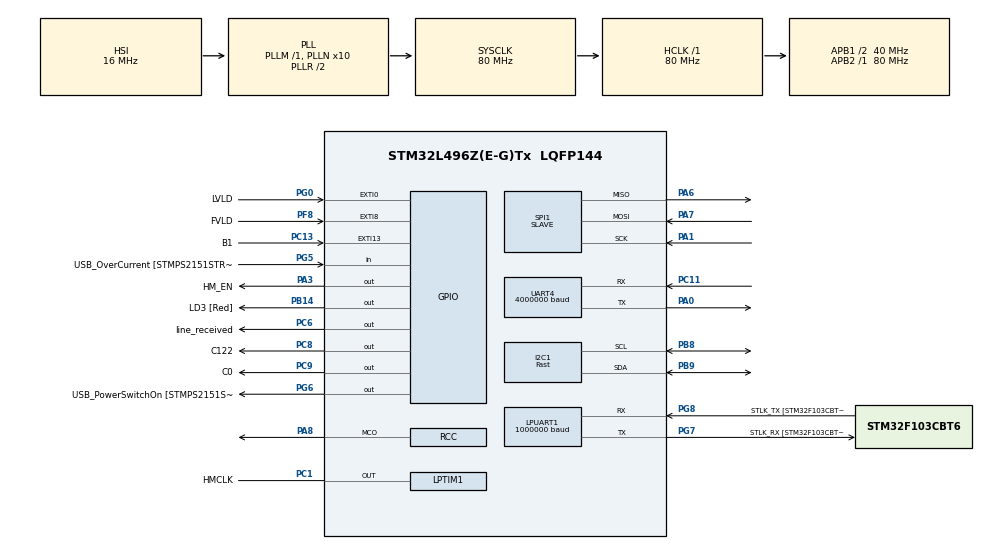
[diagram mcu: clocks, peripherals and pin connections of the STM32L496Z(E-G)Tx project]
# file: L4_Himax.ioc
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Dma.LPUART_TX.2.Direction=DMA_MEMORY_TO_PERIPH
Dma.LPUART_TX.2.Instance=DMA2_Channel6
Dma.LPUART_TX.2.MemDataAlignment=DMA_MDATAALIGN_BYTE
Dma.LPUART_TX.2.MemInc=DMA_MINC_ENABLE
Dma.LPUART_TX.2.Mode=DMA_NORMAL
Dma.LPUART_TX.2.PeriphDataAlignment=DMA_PDATAALIGN_BYTE
Dma.LPUART_TX.2.PeriphInc=DMA_PINC_DISABLE
Dma.LPUART_TX.2.Priority=DMA_PRIORITY_LOW
Dma.Request0=UART4_TX
Dma.Request1=SPI1_RX
Dma.Request2=LPUART_TX
Dma.SPI1_RX.1.Direction=DMA_PERIPH_TO_MEMORY
Dma.SPI1_RX.1.Instance=DMA1_Channel2
Dma.SPI1_RX.1.MemDataAlignment=DMA_MDATAALIGN_BYTE
Dma.SPI1_RX.1.MemInc=DMA_MINC_ENABLE
Dma.SPI1_RX.1.Mode=DMA_NORMAL
Dma.SPI1_RX.1.PeriphDataAlignment=DMA_PDATAALIGN_BYTE
Dma.SPI1_RX.1.PeriphInc=DMA_PINC_DISABLE
Dma.SPI1_RX.1.Priority=DMA_PRIORITY_LOW
Dma.UART4_TX.0.Direction=DMA_MEMORY_TO_PERIPH
Dma.UART4_TX.0.Instance=DMA2_Channel3
Dma.UART4_TX.0.MemDataAlignment=DMA_MDATAALIGN_BYTE
Dma.UART4_TX.0.MemInc=DMA_MINC_ENABLE
Dma.UART4_TX.0.Mode=DMA_NORMAL
Dma.UART4_TX.0.PeriphDataAlignment=DMA_PDATAALIGN_BYTE
Dma.UART4_TX.0.PeriphInc=DMA_PINC_DISABLE
Dma.UART4_TX.0.Priority=DMA_PRIORITY_LOW
I2C1.CustomTiming=Disabled
I2C1.I2C_Speed_Mode=I2C_Fast
I2C1.Timing=0x00301347
LPUART1.BaudRate=1000000
LPUART1.WordLength=UART_WORDLENGTH_8B
Mcu.Family=STM32L4
Mcu.Name=STM32L496Z(E-G)Tx
Mcu.Package=LQFP144
NVIC.DMA1_Channel2_IRQn=true\:0\:0\:false\:false\:true\:false\:true
NVIC.DMA2_Channel3_IRQn=true\:0\:0\:false\:false\:true\:false\:true
NVIC.DMA2_Channel6_IRQn=true\:0\:0\:false\:false\:true\:false\:true
NVIC.EXTI0_IRQn=true\:0\:0\:false\:false\:true\:true\:true
NVIC.EXTI9_5_IRQn=true\:0\:0\:false\:false\:true\:true\:true
NVIC.PriorityGroup=NVIC_PRIORITYGROUP_4
NVIC.SPI1_IRQn=true\:0\:0\:false\:false\:true\:true\:true
NVIC.UART4_IRQn=true\:0\:0\:false\:false\:true\:true\:true
PA0.Mode=Asynchronous
PA0.Signal=UART4_TX
PA1.Mode=Full_Duplex_Slave
PA1.Signal=SPI1_SCK
PA13\ (JTMS/SWDIO).GPIO_Label=TMS
PA13\ (JTMS/SWDIO).Mode=Trace_Asynchronous_SW
PA13\ (JTMS/SWDIO).Signal=SYS_JTMS-SWDIO
PA14\ (JTCK/SWCLK).GPIO_Label=TCK
PA14\ (JTCK/SWCLK).Mode=Trace_Asynchronous_SW
PA14\ (JTCK/SWCLK).Signal=SYS_JTCK-SWCLK
PA3.GPIO_Label=HM_EN
PA3.Signal=GPIO_Output
PA6.Mode=Full_Duplex_Slave
PA6.Signal=SPI1_MISO
PA7.Mode=Full_Duplex_Slave
PA7.Signal=SPI1_MOSI
PA8.Mode=Clock-out
PA8.Signal=RCC_MCO
PB14.GPIO_Label=LD3 [Red]
PB14.Signal=GPIO_Output
PB3\ (JTDO/TRACESWO).GPIO_Label=SWO
PB3\ (JTDO/TRACESWO).Mode=Trace_Asynchronous_SW
PB3\ (JTDO/TRACESWO).Signal=SYS_JTDO-SWO
PB8.GPIO_Pu=GPIO_PULLUP
PB8.Mode=I2C
PB8.Signal=I2C1_SCL
PB9.GPIO_Pu=GPIO_PULLUP
PB9.Mode=I2C
PB9.Signal=I2C1_SDA
PC1.GPIO_Label=HMCLK
PC1.GPIO_Speed=GPIO_SPEED_FREQ_VERY_HIGH
PC1.Mode=WaveformGeneration
PC1.Signal=LPTIM1_OUT
PC11.Mode=Asynchronous
PC11.Signal=UART4_RX
PC13.GPIO_Label=B1
PC13.Signal=GPXTI13
PC14-OSC32_IN\ (PC14).Mode=LSE-External-Oscillator
PC14-OSC32_IN\ (PC14).Signal=RCC_OSC32_IN
PC15-OSC32_OUT\ (PC15).Mode=LSE-External-Oscillator
PC15-OSC32_OUT\ (PC15).Signal=RCC_OSC32_OUT
PC6.GPIO_Label=line_received
PC6.GPIO_Speed=GPIO_SPEED_FREQ_HIGH
PC6.Signal=GPIO_Output
PC8.GPIO_Label=C122
PC8.GPIO_Speed=GPIO_SPEED_FREQ_HIGH
PC8.Signal=GPIO_Output
PC9.GPIO_Label=C0
PC9.GPIO_Speed=GPIO_SPEED_FREQ_HIGH
PC9.Signal=GPIO_Output
PF8.GPIO_Label=FVLD
PF8.Signal=GPXTI8
PG0.GPIO_Label=LVLD
PG0.Signal=GPXTI0
PG5.GPIO_Label=USB_OverCurrent [STMPS2151STR_FAULT]
PG5.Signal=GPIO_Input
PG6.GPIO_Label=USB_PowerSwitchOn [STMPS2151STR_EN]
PG6.Signal=GPIO_Output
PG7.GPIO_Label=STLK_RX [STM32F103CBT6_PA3]
PG7.Mode=Asynchronous
PG7.Signal=LPUART1_TX
PG8.GPIO_Label=STLK_TX [STM32F103CBT6_PA2]
PG8.Mode=Asynchronous
PG8.Signal=LPUART1_RX
PH1-OSC_OUT\ (PH1).Signal=RCC_OSC_OUT
ProjectManager.HeapSize=0x200
ProjectManager.StackSize=0x400
ProjectManager.TargetToolchain=STM32CubeIDE
RCC.48MHZClocksFreq_Value=24000000
RCC.ADCFreq_Value=64000000
RCC.AHBFreq_Value=80000000
RCC.APB1CLKDivider=RCC_HCLK_DIV2
RCC.APB1Freq_Value=40000000
RCC.APB1TimFreq_Value=80000000
RCC.APB2Freq_Value=80000000
RCC.APB2TimFreq_Value=80000000
RCC.CortexFreq_Value=80000000
RCC.HCLKFreq_Value=80000000
RCC.HSE_VALUE=8000000
RCC.HSI48_VALUE=48000000
RCC.HSI_VALUE=16000000
RCC.MSI_VALUE=4000000
RCC.PLLMUL=RCC_PLL_MUL9
RCC.PLLN=10
RCC.PLLSourceVirtual=RCC_PLLSOURCE_HSI
RCC.PRESCALERUSB=RCC_USBCLKSOURCE_PLL_DIV1_5
RCC.RCC_MCODiv=RCC_MCODIV_8
RCC.SYSCLKFreq_VALUE=80000000
RCC.SYSCLKSource=RCC_SYSCLKSOURCE_PLLCLK
RCC.SYSCLKSourceVirtual=RCC_SYSCLKSOURCE_PLLCLK
RCC.USBFreq_Value=64000000
RCC.VCOOutputFreq_Value=160000000
SPI1.DataSize=SPI_DATASIZE_8BIT
SPI1.Direction=SPI_DIRECTION_2LINES
SPI1.Mode=SPI_MODE_SLAVE
SPI1.VirtualType=VM_SLAVE
UART4.BaudRate=4000000
UART4.OverSampling=UART_OVERSAMPLING_8
VP_LPTIM1_VS_LPTIM_counterModeInternalClock.Mode=Counts__internal_clock_event_00
board=NUCLEO-L496ZG

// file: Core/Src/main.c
/* USER CODE BEGIN Header */
/**
  ******************************************************************************
  * @file           : main.c
  * @brief          : Main program body
  ******************************************************************************
  * @attention
  *
  * <h2><center>&copy; Copyright (c) 2021 STMicroelectronics.
  * All rights reserved.</center></h2>
  *
  * This software component is licensed by ST under BSD 3-Clause license,
  * the "License"; You may not use this file except in compliance with the
  * License. You may obtain a copy of the License at:
  *                        opensource.org/licenses/BSD-3-Clause
  *
  ******************************************************************************
  */
/* USER CODE END Header */
#include "main.h"
#include "HM.h"
/* USER CODE BEGIN Includes */
//#include "HM.h"
/* USER CODE END Includes */

/* USER CODE BEGIN PD */

#define HMCLK_PER 6
#define HMCLK_PUL 3
#define LINE_LENGTH 324
#define LINE_HEIGHT 324
#define FIFO_SZ 10
/* USER CODE END PD */

I2C_HandleTypeDef hi2c1;

LPTIM_HandleTypeDef hlptim1;

UART_HandleTypeDef hlpuart1;
UART_HandleTypeDef huart4;
DMA_HandleTypeDef hdma_lpuart_tx;
DMA_HandleTypeDef hdma_uart4_tx;

SPI_HandleTypeDef hspi1;
DMA_HandleTypeDef hdma_spi1_rx;

/* USER CODE BEGIN PV */
uint8_t HM_Data[FIFO_SZ* (LINE_LENGTH+3)];
uint8_t dummy[LINE_LENGTH+3];
uint8_t line_received = 0;
uint8_t FIFO_Index = 0;
uint8_t uart_done = 1;
uint8_t spi_done = 0;
uint8_t startHM = 0;
uint8_t counter_line = 0;
uint8_t end_frame = 0;
uint32_t i = 0;
uint32_t x[1];
uint8_t UART_TxBuffer[3];
GPIO_InitTypeDef GPIO_InitStruct = {0};
/* USER CODE END PV */

void SystemClock_Config(void);
static void MX_GPIO_Init(void);
static void MX_DMA_Init(void);
static void MX_LPUART1_UART_Init(void);
static void MX_I2C1_Init(void);
static void MX_SPI1_Init(void);
static void MX_LPTIM1_Init(void);
static void MX_UART4_Init(void);

int main(void)
{

  /* MCU Configuration--------------------------------------------------------*/

  /* Reset of all peripherals, Initializes the Flash interface and the Systick. */
  HAL_Init();

  /* Configure the system clock */
  SystemClock_Config();

  /* Initialize all configured peripherals */
  MX_GPIO_Init();
  MX_DMA_Init();
  MX_LPUART1_UART_Init();
  MX_I2C1_Init();
  MX_SPI1_Init();
  MX_LPTIM1_Init();
  MX_UART4_Init();
  /* USER CODE BEGIN 2 */
  HAL_GPIO_WritePin(HM_EN_GPIO_Port, HM_EN_Pin, GPIO_PIN_SET);
    HAL_Delay(10);
    HAL_LPTIM_PWM_Start(&hlptim1, HMCLK_PER - 1, HMCLK_PUL - 1);

    hm01b0_init(&hi2c1);
    hm01b0_stream(&hi2c1, 0);

    for(i = 0; i++; i < LINE_LENGTH+3){
  	  dummy[i] = 0x00;
    }
  //  counter = 0;
  //  HAL_NVIC_SetPriority(EXTI0_IRQn, 0, 0);
  //  HAL_NVIC_EnableIRQ(EXTI0_IRQn);
  //
  //  HAL_NVIC_SetPriority(EXTI9_5_IRQn, 0, 0);
  //  HAL_NVIC_EnableIRQ(EXTI9_5_IRQn);

  //  HAL_SPI_Receive_DMA(&hspi1, HM_Data + FIFO_Index*LINE_LENGTH, LINE_LENGTH);
    //go to sleep

  /* USER CODE END 2 */

  /* Infinite loop */
  /* USER CODE BEGIN WHILE */

    HAL_SPI_Receive_DMA(&hspi1, HM_Data , LINE_LENGTH);
  //  HAL_SuspendTick();
  //  HAL_PWR_EnterSLEEPMode(PWR_MAINREGULATOR_ON, PWR_SLEEPENTRY_WFI);

    startHM = 0;
    while(!startHM){}
    while (1)
    {

  	  end_frame = 0;
  	  counter_line = 1;
  //	  spi_done = 0;
  //	  o = HAL_SPI_Receive_DMA(&hspi1, HM_Data   + FIFO_Index*(LINE_LENGTH + 3), LINE_LENGTH);  //+ FIFO_Index*(LINE_LENGTH + 3) + LINE_LENGTH , LINE_LENGTH);  //receive line, then enter sleep mode until the receive is over
  //	  HAL_SuspendTick();
  //	  HAL_PWR_EnterSLEEPMode(PWR_MAINREGULATOR_ON, PWR_SLEEPENTRY_WFI);

  	  while (end_frame == 0)
  	  {
  		  HM_Data[0]= counter_line;
  		  HM_Data[1]= 0;
  		  HM_Data[2]= 0;
  		  x[0] = counter_line;
  		  while(!spi_done){}
  		  spi_done = 0;
  		  HAL_SPI_Receive_DMA(&hspi1, HM_Data+ 3, LINE_LENGTH);  //receive line, then enter sleep mode until the receive is over
  		  if(counter_line == 1)	{
  			  HAL_SuspendTick();
  			  HAL_PWR_EnterSLEEPMode(PWR_MAINREGULATOR_ON, PWR_SLEEPENTRY_WFI);
  		  }
  		  if(counter_line > 82 && counter_line < 243)
  		  {
			  //while(!uart_done){}
			  //uart_done = 0;
			  //HAL_GPIO_WritePin(C0_GPIO_Port, C0_Pin, GPIO_PIN_SET); 				//UART PIN END
  			  HM_Data[4] = 2;
  			  HAL_UART_Transmit_DMA(&huart4,  dummy, LINE_LENGTH+3);
			  //HAL_GPIO_WritePin(C122_GPIO_Port, C122_Pin, GPIO_PIN_SET);			//SPI PIN END
  		  }

  		  if(FIFO_Index == FIFO_SZ)
    		  {
  			  FIFO_Index = 0;
  		  }
  	 	  counter_line ++;
  	  }

  	  while(!spi_done){}
  	  HM_Data[4] = 1;
  	  HAL_UART_Transmit_DMA(&huart4,  dummy, LINE_LENGTH+3);

  //	  }

    }

    /* USER CODE END WHILE */

    /* USER CODE BEGIN 3 */
  //}
  /* USER CODE END 3 */
}

void SystemClock_Config(void)
{
  RCC_OscInitTypeDef RCC_OscInitStruct = {0};
  RCC_ClkInitTypeDef RCC_ClkInitStruct = {0};

  /** Configure the main internal regulator output voltage
  */
  if (HAL_PWREx_ControlVoltageScaling(PWR_REGULATOR_VOLTAGE_SCALE1) != HAL_OK)
  {
    Error_Handler();
  }
  /** Initializes the RCC Oscillators according to the specified parameters
  * in the RCC_OscInitTypeDef structure.
  */
  RCC_OscInitStruct.OscillatorType = RCC_OSCILLATORTYPE_HSI;
  RCC_OscInitStruct.HSIState = RCC_HSI_ON;
  RCC_OscInitStruct.HSICalibrationValue = RCC_HSICALIBRATION_DEFAULT;
  RCC_OscInitStruct.PLL.PLLState = RCC_PLL_ON;
  RCC_OscInitStruct.PLL.PLLSource = RCC_PLLSOURCE_HSI;
  RCC_OscInitStruct.PLL.PLLM = 1;
  RCC_OscInitStruct.PLL.PLLN = 10;
  RCC_OscInitStruct.PLL.PLLP = RCC_PLLP_DIV2;
  RCC_OscInitStruct.PLL.PLLQ = RCC_PLLQ_DIV2;
  RCC_OscInitStruct.PLL.PLLR = RCC_PLLR_DIV2;
  if (HAL_RCC_OscConfig(&RCC_OscInitStruct) != HAL_OK)
  {
    Error_Handler();
  }
  /** Initializes the CPU, AHB and APB buses clocks
  */
  RCC_ClkInitStruct.ClockType = RCC_CLOCKTYPE_HCLK|RCC_CLOCKTYPE_SYSCLK
                              |RCC_CLOCKTYPE_PCLK1|RCC_CLOCKTYPE_PCLK2;
  RCC_ClkInitStruct.SYSCLKSource = RCC_SYSCLKSOURCE_PLLCLK;
  RCC_ClkInitStruct.AHBCLKDivider = RCC_SYSCLK_DIV1;
  RCC_ClkInitStruct.APB1CLKDivider = RCC_HCLK_DIV2;
  RCC_ClkInitStruct.APB2CLKDivider = RCC_HCLK_DIV1;

  if (HAL_RCC_ClockConfig(&RCC_ClkInitStruct, FLASH_LATENCY_4) != HAL_OK)
  {
    Error_Handler();
  }
  HAL_RCC_MCOConfig(RCC_MCO1, RCC_MCO1SOURCE_SYSCLK, RCC_MCODIV_8);
}

static void MX_I2C1_Init(void)
{

  hi2c1.Instance = I2C1;
  hi2c1.Init.Timing = 0x00301347;
  hi2c1.Init.OwnAddress1 = 0;
  hi2c1.Init.AddressingMode = I2C_ADDRESSINGMODE_7BIT;
  hi2c1.Init.DualAddressMode = I2C_DUALADDRESS_DISABLE;
  hi2c1.Init.OwnAddress2 = 0;
  hi2c1.Init.OwnAddress2Masks = I2C_OA2_NOMASK;
  hi2c1.Init.GeneralCallMode = I2C_GENERALCALL_DISABLE;
  hi2c1.Init.NoStretchMode = I2C_NOSTRETCH_DISABLE;
  if (HAL_I2C_Init(&hi2c1) != HAL_OK)
  {
    Error_Handler();
  }
  /** Configure Analogue filter
  */
  if (HAL_I2CEx_ConfigAnalogFilter(&hi2c1, I2C_ANALOGFILTER_ENABLE) != HAL_OK)
  {
    Error_Handler();
  }
  /** Configure Digital filter
  */
  if (HAL_I2CEx_ConfigDigitalFilter(&hi2c1, 0) != HAL_OK)
  {
    Error_Handler();
  }

}

static void MX_LPTIM1_Init(void)
{

  hlptim1.Instance = LPTIM1;
  hlptim1.Init.Clock.Source = LPTIM_CLOCKSOURCE_APBCLOCK_LPOSC;
  hlptim1.Init.Clock.Prescaler = LPTIM_PRESCALER_DIV1;
  hlptim1.Init.Trigger.Source = LPTIM_TRIGSOURCE_SOFTWARE;
  hlptim1.Init.OutputPolarity = LPTIM_OUTPUTPOLARITY_HIGH;
  hlptim1.Init.UpdateMode = LPTIM_UPDATE_IMMEDIATE;
  hlptim1.Init.CounterSource = LPTIM_COUNTERSOURCE_INTERNAL;
  hlptim1.Init.Input1Source = LPTIM_INPUT1SOURCE_GPIO;
  hlptim1.Init.Input2Source = LPTIM_INPUT2SOURCE_GPIO;
  if (HAL_LPTIM_Init(&hlptim1) != HAL_OK)
  {
    Error_Handler();
  }

}

static void MX_LPUART1_UART_Init(void)
{

  hlpuart1.Instance = LPUART1;
  hlpuart1.Init.BaudRate = 1000000;
  hlpuart1.Init.WordLength = UART_WORDLENGTH_8B;
  hlpuart1.Init.StopBits = UART_STOPBITS_1;
  hlpuart1.Init.Parity = UART_PARITY_NONE;
  hlpuart1.Init.Mode = UART_MODE_TX_RX;
  hlpuart1.Init.HwFlowCtl = UART_HWCONTROL_NONE;
  hlpuart1.Init.OneBitSampling = UART_ONE_BIT_SAMPLE_DISABLE;
  hlpuart1.AdvancedInit.AdvFeatureInit = UART_ADVFEATURE_NO_INIT;
  if (HAL_UART_Init(&hlpuart1) != HAL_OK)
  {
    Error_Handler();
  }

}

static void MX_UART4_Init(void)
{

  huart4.Instance = UART4;
  huart4.Init.BaudRate = 4000000;
  huart4.Init.WordLength = UART_WORDLENGTH_8B;
  huart4.Init.StopBits = UART_STOPBITS_1;
  huart4.Init.Parity = UART_PARITY_NONE;
  huart4.Init.Mode = UART_MODE_TX_RX;
  huart4.Init.HwFlowCtl = UART_HWCONTROL_NONE;
  huart4.Init.OverSampling = UART_OVERSAMPLING_8;
  huart4.Init.OneBitSampling = UART_ONE_BIT_SAMPLE_DISABLE;
  huart4.AdvancedInit.AdvFeatureInit = UART_ADVFEATURE_NO_INIT;
  if (HAL_UART_Init(&huart4) != HAL_OK)
  {
    Error_Handler();
  }

}

static void MX_SPI1_Init(void)
{

  /* SPI1 parameter configuration*/
  hspi1.Instance = SPI1;
  hspi1.Init.Mode = SPI_MODE_SLAVE;
  hspi1.Init.Direction = SPI_DIRECTION_2LINES;
  hspi1.Init.DataSize = SPI_DATASIZE_8BIT;
  hspi1.Init.CLKPolarity = SPI_POLARITY_LOW;
  hspi1.Init.CLKPhase = SPI_PHASE_1EDGE;
  hspi1.Init.NSS = SPI_NSS_SOFT;
  hspi1.Init.FirstBit = SPI_FIRSTBIT_MSB;
  hspi1.Init.TIMode = SPI_TIMODE_DISABLE;
  hspi1.Init.CRCCalculation = SPI_CRCCALCULATION_DISABLE;
  hspi1.Init.CRCPolynomial = 7;
  hspi1.Init.CRCLength = SPI_CRC_LENGTH_DATASIZE;
  hspi1.Init.NSSPMode = SPI_NSS_PULSE_DISABLE;
  if (HAL_SPI_Init(&hspi1) != HAL_OK)
  {
    Error_Handler();
  }

}

static void MX_DMA_Init(void)
{

  /* DMA controller clock enable */
  __HAL_RCC_DMA2_CLK_ENABLE();
  __HAL_RCC_DMA1_CLK_ENABLE();

  /* DMA interrupt init */
  /* DMA1_Channel2_IRQn interrupt configuration */
  HAL_NVIC_SetPriority(DMA1_Channel2_IRQn, 0, 0);
  HAL_NVIC_EnableIRQ(DMA1_Channel2_IRQn);
  /* DMA2_Channel3_IRQn interrupt configuration */
  HAL_NVIC_SetPriority(DMA2_Channel3_IRQn, 0, 0);
  HAL_NVIC_EnableIRQ(DMA2_Channel3_IRQn);
  /* DMA2_Channel6_IRQn interrupt configuration */
  HAL_NVIC_SetPriority(DMA2_Channel6_IRQn, 0, 0);
  HAL_NVIC_EnableIRQ(DMA2_Channel6_IRQn);

}

static void MX_GPIO_Init(void)
{
  GPIO_InitTypeDef GPIO_InitStruct = {0};

  /* GPIO Ports Clock Enable */
  __HAL_RCC_GPIOC_CLK_ENABLE();
  __HAL_RCC_GPIOF_CLK_ENABLE();
  __HAL_RCC_GPIOH_CLK_ENABLE();
  __HAL_RCC_GPIOA_CLK_ENABLE();
  __HAL_RCC_GPIOG_CLK_ENABLE();
  __HAL_RCC_GPIOB_CLK_ENABLE();
  HAL_PWREx_EnableVddIO2();

  /*Configure GPIO pin Output Level */
  HAL_GPIO_WritePin(HM_EN_GPIO_Port, HM_EN_Pin, GPIO_PIN_RESET);

  /*Configure GPIO pin Output Level */
  HAL_GPIO_WritePin(LD3_GPIO_Port, LD3_Pin, GPIO_PIN_RESET);

  /*Configure GPIO pin Output Level */
  HAL_GPIO_WritePin(USB_PowerSwitchOn_GPIO_Port, USB_PowerSwitchOn_Pin, GPIO_PIN_RESET);

  /*Configure GPIO pin Output Level */
  HAL_GPIO_WritePin(GPIOC, line_received_Pin|C122_Pin|C0_Pin, GPIO_PIN_RESET);

  /*Configure GPIO pin : B1_Pin */
  GPIO_InitStruct.Pin = B1_Pin;
  GPIO_InitStruct.Mode = GPIO_MODE_IT_RISING;
  GPIO_InitStruct.Pull = GPIO_NOPULL;
  HAL_GPIO_Init(B1_GPIO_Port, &GPIO_InitStruct);

  /*Configure GPIO pin : FVLD_Pin */
  GPIO_InitStruct.Pin = FVLD_Pin;
  GPIO_InitStruct.Mode = GPIO_MODE_IT_RISING;
  GPIO_InitStruct.Pull = GPIO_NOPULL;
  HAL_GPIO_Init(FVLD_GPIO_Port, &GPIO_InitStruct);

  /*Configure GPIO pin : HM_EN_Pin */
  GPIO_InitStruct.Pin = HM_EN_Pin;
  GPIO_InitStruct.Mode = GPIO_MODE_OUTPUT_PP;
  GPIO_InitStruct.Pull = GPIO_NOPULL;
  GPIO_InitStruct.Speed = GPIO_SPEED_FREQ_LOW;
  HAL_GPIO_Init(HM_EN_GPIO_Port, &GPIO_InitStruct);

  /*Configure GPIO pin : LVLD_Pin */
  GPIO_InitStruct.Pin = LVLD_Pin;
  GPIO_InitStruct.Mode = GPIO_MODE_IT_RISING;
  GPIO_InitStruct.Pull = GPIO_NOPULL;
  HAL_GPIO_Init(LVLD_GPIO_Port, &GPIO_InitStruct);

  /*Configure GPIO pin : LD3_Pin */
  GPIO_InitStruct.Pin = LD3_Pin;
  GPIO_InitStruct.Mode = GPIO_MODE_OUTPUT_PP;
  GPIO_InitStruct.Pull = GPIO_NOPULL;
  GPIO_InitStruct.Speed = GPIO_SPEED_FREQ_LOW;
  HAL_GPIO_Init(LD3_GPIO_Port, &GPIO_InitStruct);

  /*Configure GPIO pin : USB_OverCurrent_Pin */
  GPIO_InitStruct.Pin = USB_OverCurrent_Pin;
  GPIO_InitStruct.Mode = GPIO_MODE_INPUT;
  GPIO_InitStruct.Pull = GPIO_NOPULL;
  HAL_GPIO_Init(USB_OverCurrent_GPIO_Port, &GPIO_InitStruct);

  /*Configure GPIO pin : USB_PowerSwitchOn_Pin */
  GPIO_InitStruct.Pin = USB_PowerSwitchOn_Pin;
  GPIO_InitStruct.Mode = GPIO_MODE_OUTPUT_PP;
  GPIO_InitStruct.Pull = GPIO_NOPULL;
  GPIO_InitStruct.Speed = GPIO_SPEED_FREQ_LOW;
  HAL_GPIO_Init(USB_PowerSwitchOn_GPIO_Port, &GPIO_InitStruct);

  /*Configure GPIO pins : line_received_Pin C122_Pin C0_Pin */
  GPIO_InitStruct.Pin = line_received_Pin|C122_Pin|C0_Pin;
  GPIO_InitStruct.Mode = GPIO_MODE_OUTPUT_PP;
  GPIO_InitStruct.Pull = GPIO_NOPULL;
  GPIO_InitStruct.Speed = GPIO_SPEED_FREQ_HIGH;
  HAL_GPIO_Init(GPIOC, &GPIO_InitStruct);

  /*Configure GPIO pin : PA8 */
  GPIO_InitStruct.Pin = GPIO_PIN_8;
  GPIO_InitStruct.Mode = GPIO_MODE_AF_PP;
  GPIO_InitStruct.Pull = GPIO_NOPULL;
  GPIO_InitStruct.Speed = GPIO_SPEED_FREQ_LOW;
  GPIO_InitStruct.Alternate = GPIO_AF0_MCO;
  HAL_GPIO_Init(GPIOA, &GPIO_InitStruct);

  /* EXTI interrupt init*/
  HAL_NVIC_SetPriority(EXTI0_IRQn, 0, 0);
  HAL_NVIC_EnableIRQ(EXTI0_IRQn);

  HAL_NVIC_SetPriority(EXTI9_5_IRQn, 0, 0);
  HAL_NVIC_EnableIRQ(EXTI9_5_IRQn);

}

/* USER CODE BEGIN 4 */
void HAL_SPI_RxCpltCallback(SPI_HandleTypeDef *hspi1)			//Not auto-gen
{
	spi_done = 1;
	//HAL_GPIO_WritePin(C122_GPIO_Port, C122_Pin, GPIO_PIN_RESET);//SPI PIN END

//	HAL_GPIO_TogglePin(LD3_GPIO_Port, LD3_Pin);
	line_received = 1;

}
void HAL_SPI_ErrorCallback(SPI_HandleTypeDef *hspi1)			//Not auto-gen
{

	spi_done = 1;
	//HAL_GPIO_WritePin(C122_GPIO_Port, C122_Pin, GPIO_PIN_RESET);//SPI PIN END
	i = HAL_SPI_GetError(hspi1);
	line_received = 1;

}
void HAL_GPIO_EXTI_Callback(uint16_t GPIO_Pin)					//Not auto-gen
{

	if (GPIO_Pin == FVLD_Pin)
	{
//		if(1){
//			line_received = 1;
//		} else if(1)   {
//			line_received = 0;
//		}
		end_frame = 1;
		HAL_GPIO_TogglePin(C122_GPIO_Port, C122_Pin);

		startHM = 1;
	}

	else if (GPIO_Pin == LVLD_Pin)
	{
//		end_frame = 1;
//		if(LVLD_PIN == 1){
//
//		} else {
//
//		}

	}

}

void HAL_UART_TxCpltCallback(UART_HandleTypeDef *huart4)	//already commented out
{
	HAL_GPIO_WritePin(C0_GPIO_Port, C0_Pin, GPIO_PIN_RESET); //UART PIN START
	uart_done = 1;
}

void HAL_UART_ErrorCallback(UART_HandleTypeDef *huart4)	//already commented out
{
	HAL_GPIO_WritePin(C0_GPIO_Port, C0_Pin, GPIO_PIN_RESET); //UART PIN START
	uart_done = 1;
}
/* USER CODE END 4 */

void Error_Handler(void)
{
  __disable_irq();
  while (1)
  {
  }
}
